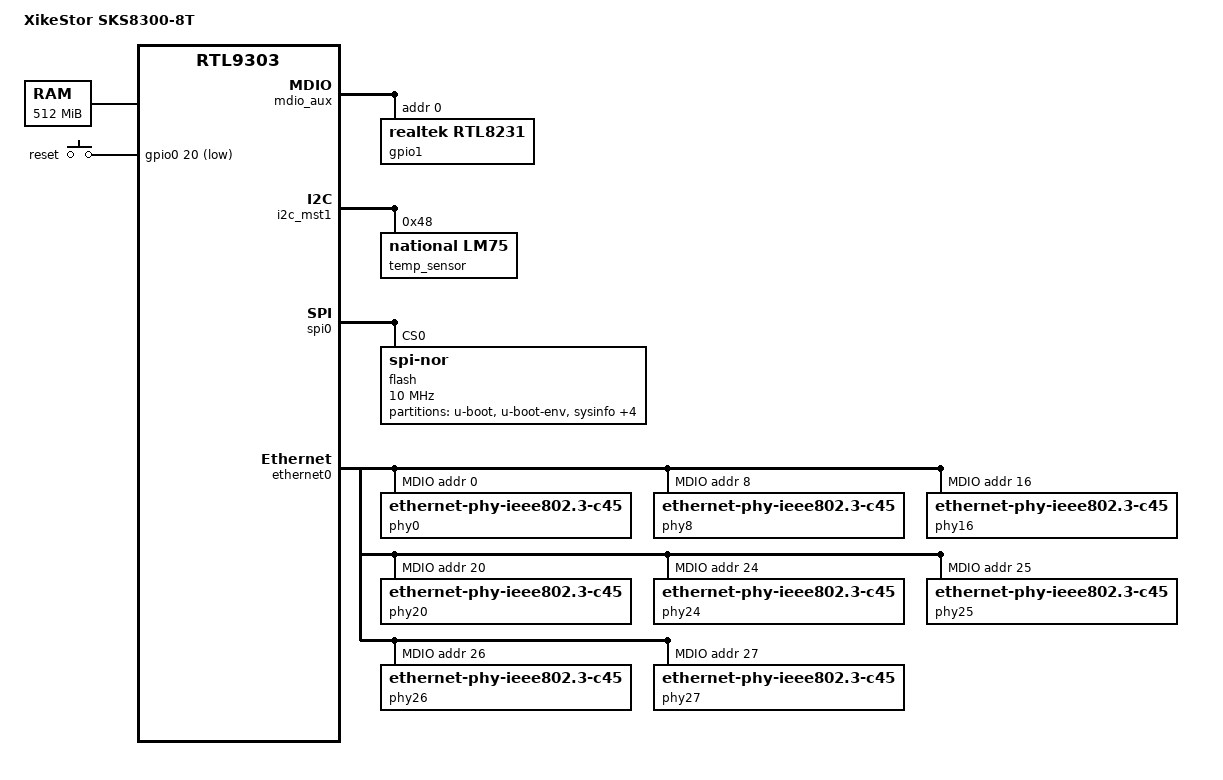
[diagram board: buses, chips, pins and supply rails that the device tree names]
// SPDX-License-Identifier: GPL-2.0-or-later

#include "rtl930x.dtsi"
#include "macros.dtsi"

#include <dt-bindings/input/input.h>
#include <dt-bindings/gpio/gpio.h>
#include <dt-bindings/leds/common.h>

/ {
	compatible = "xikestor,sks8300-8t", "realtek,rtl9303-soc";
	model = "XikeStor SKS8300-8T";

	memory@0 {
		device_type = "memory";
		reg = <0x00000000 0x10000000>, /* first 256 MiB */
					<0x20000000 0x10000000>; /* remaining 256 MiB */
	};

	chosen {
		stdout-path = "serial0:115200n8";
	};

	keys {
		compatible = "gpio-keys";

		button-reset {
			label = "reset";
			gpios = <&gpio0 20 GPIO_ACTIVE_LOW>;
			linux,code = <KEY_RESTART>;
		};
	};

	led_set {
		compatible = "realtek,rtl9300-leds";
		active-low;

		led_set0 = <(RTL93XX_LED_SET_10G | RTL93XX_LED_SET_LINK | RTL93XX_LED_SET_ACT)
			(RTL93XX_LED_SET_1G | RTL93XX_LED_SET_2P5G | RTL93XX_LED_SET_5G |
				RTL93XX_LED_SET_LINK | RTL93XX_LED_SET_ACT)>;
	};
};

&mdio_aux {
	status = "okay";

	gpio1: gpio@0 {
		compatible = "realtek,rtl8231";
		reg = <0>;

		gpio-controller;
		#gpio-cells = <2>;
		gpio-ranges = <&gpio1 0 0 37>;
		status = "okay";

		led-controller {
			compatible = "realtek,rtl8231-leds";
			status = "disabled";
		};
	};
};

&i2c_mst1 {
	status = "okay";

	i2c@0 {
		reg = <0>;
		clock-frequency = <100000>;

		temp_sensor: temp-sensor@48 {
			compatible = "national,lm75";
			reg = <0x48>;
		};
	};
};

&spi0 {
	status = "okay";

	flash@0 {
		compatible = "jedec,spi-nor";
		reg = <0>;
		spi-max-frequency = <10000000>;

		partitions {
			compatible = "fixed-partitions";
			#address-cells = <1>;
			#size-cells = <1>;

			partition@0 {
				label = "u-boot";
				reg = <0x0 0x1c0000>;
				read-only;
			};

			partition@1c0000 {
				label = "u-boot-env";
				reg = <0x1c0000 0x10000>;
			};

			partition@1d0000 {
				label = "sysinfo";
				reg = <0x1d0000 0x10000>;
				read-only;
			};

			partition@1e0000 {
				label = "factory";
				reg = <0x1e0000 0x10000>;
				read-only;
			};

			partition@1f0000 {
				label = "sysdata";
				reg = <0x1f0000 0x10000>;
			};

			partition@200000 {
				label = "jffs2_filesystem";
				reg = <0x200000 0xa00000>;
			};

			partition@c00000 {
				compatible = "openwrt,uimage", "denx,uimage";
				label = "firmware";
				reg = <0xc00000 0x1400000>;
				openwrt,ih-magic = <0x93000000>;
				openwrt,offset = <0x10>;
			};
		};
	};
};

&ethernet0 {
	mdio: mdio-bus {
		compatible = "realtek,rtl838x-mdio";
		regmap = <&ethernet0>;
		#address-cells = <1>;
		#size-cells = <0>;

		phy0: ethernet-phy@0 {
			compatible = "ethernet-phy-ieee802.3-c45";
			reg = <0>;
			sds = <2>;
			rtl9300,smi-address = <0 0>;
		};

		phy8: ethernet-phy@8 {
			compatible = "ethernet-phy-ieee802.3-c45";
			reg = <8>;
			sds = <3>;
			rtl9300,smi-address = <0 1>;
		};

		phy16: ethernet-phy@16 {
			compatible = "ethernet-phy-ieee802.3-c45";
			reg = <16>;
			sds = <4>;
			rtl9300,smi-address = <0 2>;
		};

		phy20: ethernet-phy@20 {
			compatible = "ethernet-phy-ieee802.3-c45";
			reg = <20>;
			sds = <5>;
			rtl9300,smi-address = <0 3>;
		};

		phy24: ethernet-phy@24 {
			compatible = "ethernet-phy-ieee802.3-c45";
			reg = <24>;
			sds = <6>;
			rtl9300,smi-address = <1 0>;
		};

		phy25: ethernet-phy@25 {
			compatible = "ethernet-phy-ieee802.3-c45";
			reg = <25>;
			sds = <7>;
			rtl9300,smi-address = <1 1>;
		};

		phy26: ethernet-phy@26 {
			compatible = "ethernet-phy-ieee802.3-c45";
			reg = <26>;
			sds = <8>;
			rtl9300,smi-address = <1 2>;
		};

		phy27: ethernet-phy@27 {
			compatible = "ethernet-phy-ieee802.3-c45";
			reg = <27>;
			sds = <9>;
			rtl9300,smi-address = <1 3>;
		};
	};
};

&switch0 {
	ports {
		#address-cells = <1>;
		#size-cells = <0>;

		port@0 {
			reg = <0>;
			label = "lan1";
			phy-handle = <&phy0>;
			phy-mode = "usxgmii";
			led-set = <0>;
		};

		port@8 {
			reg = <8>;
			label = "lan2";
			phy-handle = <&phy8>;
			phy-mode = "usxgmii";
			led-set = <0>;
		};

		port@16 {
			reg = <16>;
			label = "lan3";
			phy-handle = <&phy16>;
			phy-mode = "usxgmii";
			led-set = <0>;
		};

		port@20 {
			reg = <20>;
			label = "lan4";
			phy-handle = <&phy20>;
			phy-mode = "usxgmii";
			led-set = <0>;
		};

		port@24 {
			reg = <24>;
			label = "lan5";
			phy-handle = <&phy24>;
			phy-mode = "usxgmii";
			led-set = <0>;
		};

		port@25 {
			reg = <25>;
			label = "lan6";
			phy-handle = <&phy25>;
			phy-mode = "usxgmii";
			led-set = <0>;
		};

		port@26 {
			reg = <26>;
			label = "lan7";
			phy-handle = <&phy26>;
			phy-mode = "usxgmii";
			led-set = <0>;
		};

		port@27 {
			reg = <27>;
			label = "lan8";
			phy-handle = <&phy27>;
			phy-mode = "usxgmii";
			led-set = <0>;
		};

		port@28 {
			ethernet = <&ethernet0>;
			reg = <28>;
			phy-mode = "internal";
			fixed-link {
				speed = <10000>;
				full-duplex;
			};
		};
	};
};
